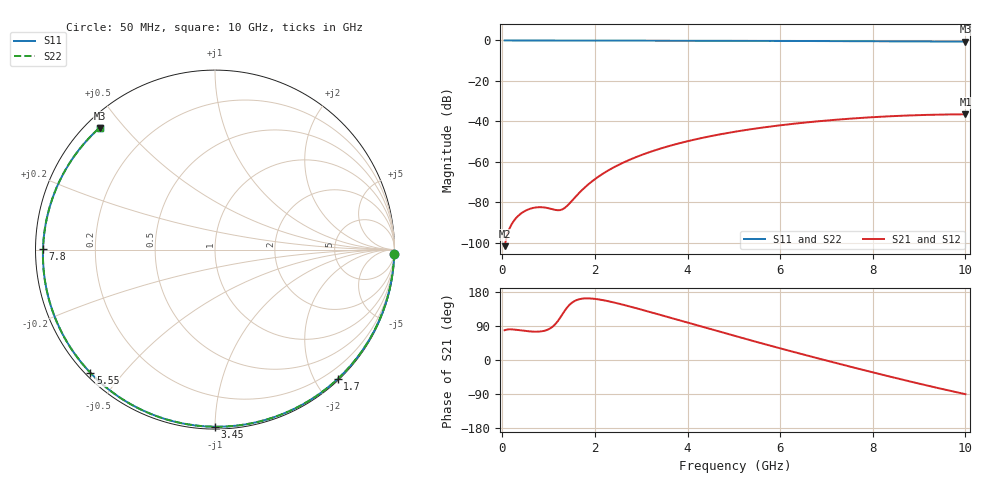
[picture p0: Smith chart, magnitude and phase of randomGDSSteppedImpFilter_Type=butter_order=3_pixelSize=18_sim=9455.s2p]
! freq	dB(S11)	phase(S11)	dB(S12)	phase(S12)
!  dB(S21)	phase(S21)	dB(S22)	phase(S22)
!S-par simulation data
#  GHz  S  DB  R 50
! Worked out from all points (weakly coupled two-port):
!   200 points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, 50 MHz to 10 GHz, reference 50 ohm
!   highest |S21| = -36.48 dB at 10 GHz (marker M1); lowest = -101.6 dB at 50 MHz (marker M2)
!   lowest |S11| = -0.6 dB at 10 GHz (marker M3), VSWR 29.73, Z = 1.99 + j21.5 ohm
!   |S11| at or under -10 dB: nowhere
!   |S22| runs from -0.6 to 0.0 dB; largest |S21 - S12| = 0
!   S11 on the Smith chart (normalised r, x): 50 MHz: 2, -84; 1.7 GHz: 0.02, -2.32; 3.45 GHz: 0.01, -1.00; 5.55 GHz: 0.01, -0.41; 7.8 GHz: 0.02, +0.00; 10 GHz: 0.04, +0.43
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0.05  -0.00 -1.4  -101.61 78.6  -101.61 78.6  -0.00 -1.4
0.7  -0.03 -19.5  -82.57 74.8  -82.57 74.8  -0.03 -19.5
1.05  -0.04 -29.2  -83.16 84.6  -83.16 84.6  -0.04 -29.2
1.45  -0.05 -40.0  -80.54 145.4  -80.54 145.4  -0.05 -40.0
1.5  -0.05 -41.3  -79.29 150.8  -79.29 150.8  -0.05 -41.3
1.7  -0.06 -46.6  -74.39 161.4  -74.39 161.4  -0.06 -46.6
1.75  -0.06 -47.9  -73.29 162.2  -73.29 162.2  -0.06 -47.9
2.05  -0.07 -55.7  -67.69 160.5  -67.69 160.5  -0.07 -55.7
2.45  -0.08 -65.9  -62.17 150.6  -62.17 150.6  -0.08 -65.9
2.9  -0.10 -76.9  -57.51 136.4  -57.51 136.4  -0.10 -76.9
3.4  -0.11 -88.8  -53.51 119.4  -53.51 119.4  -0.11 -88.8
3.45  -0.11 -89.9  -53.16 117.7  -53.16 117.7  -0.11 -90.0
4.2  -0.14 -106.9  -48.71 91.7  -48.71 91.7  -0.14 -106.9
5.05  -0.18 -125.0  -44.98 62.5  -44.98 62.5  -0.18 -125.1
5.55  -0.21 -135.4  -43.25 45.7  -43.25 45.7  -0.21 -135.4
6.15  -0.24 -147.5  -41.51 25.9  -41.51 25.9  -0.24 -147.5
6.7  -0.28 -158.4  -40.19 8.1  -40.19 8.1  -0.28 -158.4
7.25  -0.32 -169.3  -39.08 -9.3  -39.08 -9.3  -0.32 -169.3
7.8  -0.37 179.7  -38.18 -26.4  -38.18 -26.4  -0.37 179.7
8.35  -0.42 168.6  -37.47 -43.2  -37.47 -43.2  -0.42 168.6
9.15  -0.50 152.0  -36.78 -66.7  -36.78 -66.7  -0.50 152.0
10  -0.58 133.5  -36.48 -90.1  -36.48 -90.1  -0.58 133.4
